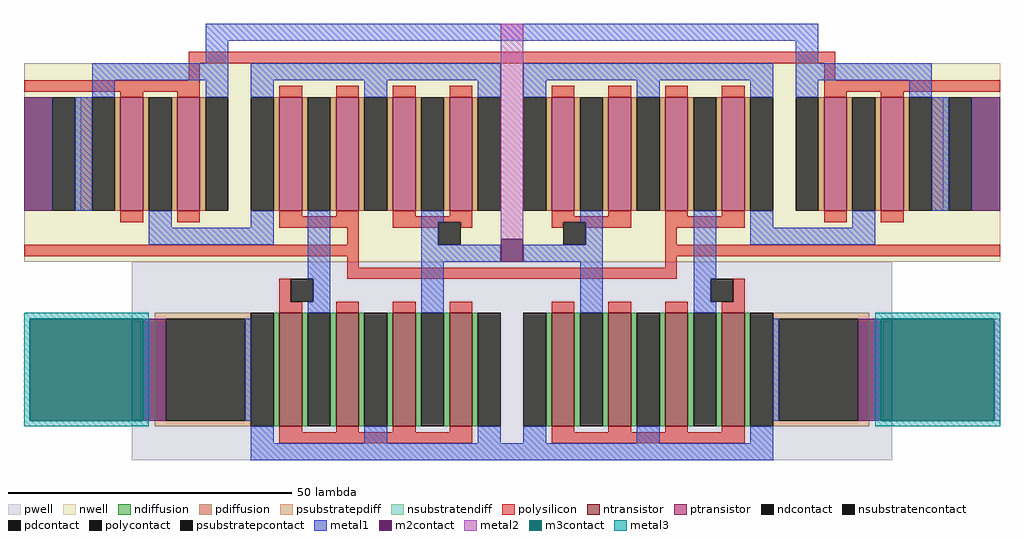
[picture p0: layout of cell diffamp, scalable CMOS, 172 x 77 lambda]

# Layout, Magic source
magic
tech scmos
<< nwell >>
rect -20 86 152 121
<< pwell >>
rect -1 51 133 86
<< ntransistor >>
rect 25 57 29 77
rect 35 57 39 77
rect 45 57 49 77
rect 55 57 59 77
rect 73 57 77 77
rect 83 57 87 77
rect 93 57 97 77
rect 103 57 107 77
<< ptransistor >>
rect -3 95 1 115
rect 7 95 11 115
rect 25 95 29 115
rect 35 95 39 115
rect 45 95 49 115
rect 55 95 59 115
rect 73 95 77 115
rect 83 95 87 115
rect 93 95 97 115
rect 103 95 107 115
rect 121 95 125 115
rect 131 95 135 115
<< ndiffusion >>
rect 24 57 25 77
rect 29 57 30 77
rect 34 57 35 77
rect 39 57 40 77
rect 44 57 45 77
rect 49 57 50 77
rect 54 57 55 77
rect 59 57 60 77
rect 72 57 73 77
rect 77 57 78 77
rect 82 57 83 77
rect 87 57 88 77
rect 92 57 93 77
rect 97 57 98 77
rect 102 57 103 77
rect 107 57 108 77
<< pdiffusion >>
rect -10 95 -8 115
rect -4 95 -3 115
rect 1 95 2 115
rect 6 95 7 115
rect 11 95 12 115
rect 24 95 25 115
rect 29 95 30 115
rect 34 95 35 115
rect 39 95 40 115
rect 44 95 45 115
rect 49 95 50 115
rect 54 95 55 115
rect 59 95 60 115
rect 72 95 73 115
rect 77 95 78 115
rect 82 95 83 115
rect 87 95 88 115
rect 92 95 93 115
rect 97 95 98 115
rect 102 95 103 115
rect 107 95 108 115
rect 120 95 121 115
rect 125 95 126 115
rect 130 95 131 115
rect 135 95 136 115
rect 140 95 142 115
<< ndcontact >>
rect 20 57 24 77
rect 30 57 34 77
rect 40 57 44 77
rect 50 57 54 77
rect 60 57 64 77
rect 68 57 72 77
rect 78 57 82 77
rect 88 57 92 77
rect 98 57 102 77
rect 108 57 112 77
<< pdcontact >>
rect -8 95 -4 115
rect 2 95 6 115
rect 12 95 16 115
rect 20 95 24 115
rect 30 95 34 115
rect 40 95 44 115
rect 50 95 54 115
rect 60 95 64 115
rect 68 95 72 115
rect 78 95 82 115
rect 88 95 92 115
rect 98 95 102 115
rect 108 95 112 115
rect 116 95 120 115
rect 126 95 130 115
rect 136 95 140 115
<< psubstratepdiff >>
rect 3 76 20 77
rect 3 58 5 76
rect 19 58 20 76
rect 3 57 20 58
rect 112 76 129 77
rect 112 58 113 76
rect 127 58 129 76
rect 112 57 129 58
<< nsubstratendiff >>
rect -11 95 -10 115
rect 142 95 143 115
<< psubstratepcontact >>
rect 5 58 19 76
rect 113 58 127 76
<< nsubstratencontact >>
rect -15 95 -11 115
rect 143 95 147 115
<< polysilicon >>
rect 9 121 123 123
rect 9 118 11 121
rect -20 116 11 118
rect 121 118 123 121
rect -3 115 1 116
rect 7 115 11 116
rect 25 115 29 117
rect 35 115 39 117
rect 45 115 49 117
rect 55 115 59 117
rect 73 115 77 117
rect 83 115 87 117
rect 93 115 97 117
rect 103 115 107 117
rect 121 116 152 118
rect 121 115 125 116
rect 131 115 135 116
rect -3 93 1 95
rect 7 93 11 95
rect 25 94 29 95
rect 35 94 39 95
rect 25 92 39 94
rect 45 94 49 95
rect 55 94 59 95
rect 45 93 59 94
rect 45 92 53 93
rect 37 89 39 92
rect 57 92 59 93
rect 73 94 77 95
rect 83 94 87 95
rect 73 93 87 94
rect 73 92 75 93
rect 79 92 87 93
rect 93 94 97 95
rect 103 94 107 95
rect 93 92 107 94
rect 121 93 125 95
rect 131 93 135 95
rect 93 89 95 92
rect -20 87 39 89
rect 37 85 39 87
rect 93 87 152 89
rect 93 85 95 87
rect 37 83 95 85
rect 25 79 27 83
rect 105 79 107 83
rect 25 77 29 79
rect 35 77 39 79
rect 45 77 49 79
rect 55 77 59 79
rect 73 77 77 79
rect 83 77 87 79
rect 93 77 97 79
rect 103 77 107 79
rect 25 56 29 57
rect 35 56 39 57
rect 45 56 49 57
rect 55 56 59 57
rect 25 54 59 56
rect 73 56 77 57
rect 83 56 87 57
rect 93 56 97 57
rect 103 56 107 57
rect 73 54 107 56
<< polycontact >>
rect 53 89 57 93
rect 75 89 79 93
rect 27 79 31 83
rect 101 79 105 83
<< metal1 >>
rect 12 125 120 128
rect 12 121 16 125
rect 116 121 120 125
rect -8 118 16 121
rect -8 115 -4 118
rect 12 115 16 118
rect -11 95 -8 115
rect 20 118 64 121
rect 20 115 24 118
rect 40 115 44 118
rect 60 115 64 118
rect 2 92 6 95
rect 20 92 24 95
rect 2 89 24 92
rect 68 118 112 121
rect 68 115 72 118
rect 88 115 92 118
rect 108 115 112 118
rect 30 83 34 95
rect 31 79 34 83
rect 30 77 34 79
rect 50 93 54 95
rect 78 93 82 95
rect 50 89 53 93
rect 50 86 64 89
rect 79 89 82 93
rect 68 86 82 89
rect 50 77 54 86
rect 78 77 82 86
rect 98 83 102 95
rect 116 118 140 121
rect 116 115 120 118
rect 136 115 140 118
rect 140 95 143 115
rect 108 92 112 95
rect 126 92 130 95
rect 108 89 130 92
rect 98 79 101 83
rect 98 77 102 79
rect 19 58 20 76
rect 20 54 24 57
rect 40 54 44 57
rect 60 54 64 57
rect 112 58 113 76
rect 68 54 72 57
rect 88 54 92 57
rect 108 54 112 57
rect 20 51 112 54
<< m2contact >>
rect -20 95 -15 115
rect 64 86 68 90
rect 147 95 152 115
rect 1 58 5 76
rect 127 58 131 76
<< metal2 >>
rect 64 90 68 128
rect 151 58 152 76
<< m3contact >>
rect -19 58 1 76
rect 131 58 151 76
<< metal3 >>
rect -20 76 2 77
rect -20 58 -19 76
rect 1 58 2 76
rect -20 57 2 58
rect 130 76 152 77
rect 130 58 131 76
rect 151 58 152 76
rect 130 57 152 58
<< end >>
